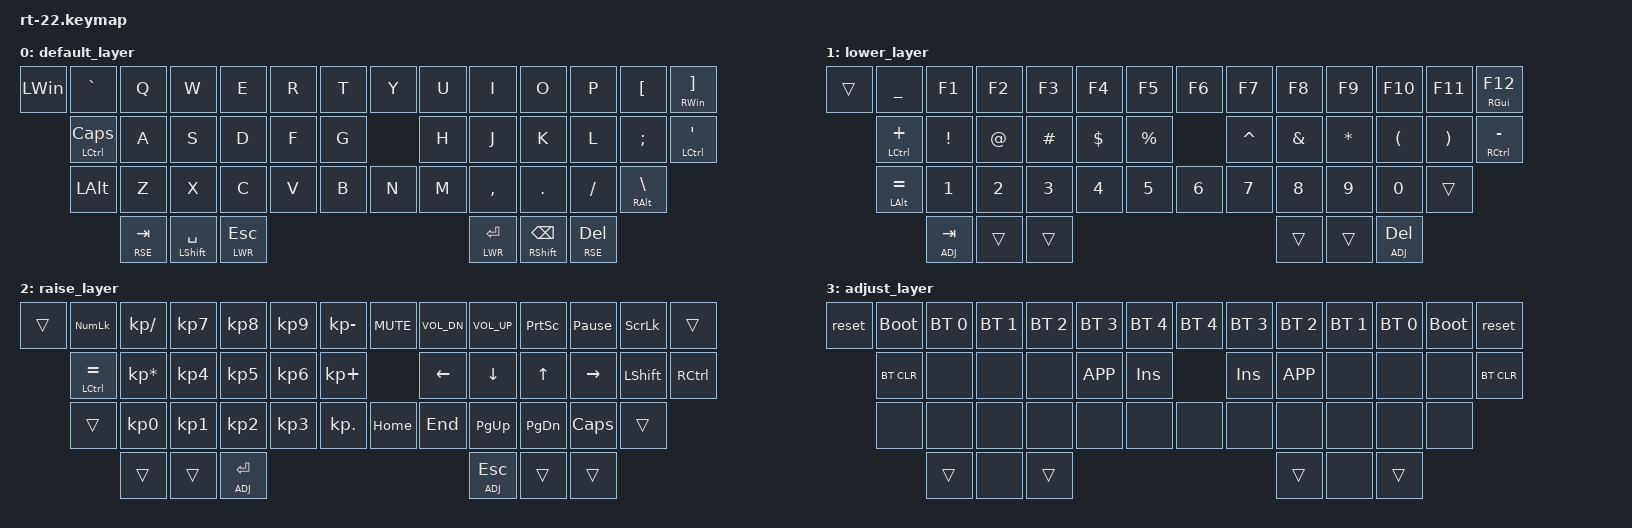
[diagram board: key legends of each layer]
/*
 * Copyright (c) 2020 The ZMK Contributors
 *
 * SPDX-License-Identifier: MIT
 */

#include <behaviors.dtsi>
#include <dt-bindings/zmk/keys.h>
#include <dt-bindings/zmk/bt.h>

#define DEF 0
#define LWR 1
#define RSE 2
#define ADJ 3

&lt { quick_tap_ms = <200>; };
&mt { quick_tap_ms = <200>; };

/ {
        keymap {
                compatible = "zmk,keymap";

                default_layer {
// -----------------------------------------------------------------------------------------
// |  GUI |   ~  |  Q  |  W  |  E  |  R  |  T  |   |  Y  |  U   |  I  |  O  |  P  |  [   | GUI/] |
//        | CTRL |  A  |  S  |  D  |  F  |  G  |   |  H  |  J   |  K  |  L  |  ;  |CTRL/'|
//        | LALT |  Z  |  X  |  C  |  V  |  B  |   |  N  |  M   |  ,  |  .  |  /  | RALT |
//                           | RSE | SPC | LWR |   | LWR | BKSP | RSE |
                        bindings = <
   &kp LWIN &kp GRAVE &kp Q &kp W &kp E &kp R &kp T &kp Y              &kp U  &kp I     &kp O   &kp P    &kp LBKT &mt RWIN RBKT
            &mt LCTRL CAPS &kp A &kp S &kp D &kp F &kp G &kp H         &kp J  &kp K     &kp L   &kp SEMI &mt LCTRL SQT
            &kp LALT  &kp Z &kp X &kp C &kp V &kp B &kp N              &kp M  &kp COMMA &kp DOT &kp FSLH &mt RALT BSLH
                  &lt RSE TAB &mt LSHFT SPACE &lt LWR ESC              &lt LWR RET &mt RSHFT BSPC &lt RSE DEL
                        >;
                };
                lower_layer {
// -----------------------------------------------------------------------------------------
// |     |  _  |  F1 |  F2 |  F3 |  F4 |  F5 |   |  F6 |  F7 |  F8 |  F9 | F10 | F11 | F12 |
//       |  +  |  !  |  @  |  #  |  $  |  %  |   |  ^  |  &  |  *  |  (  |  )  |  -  |
//       |  =  |  1  |  2  |  3  |  4  |  5  |   |  6  |  7  |  8  |  9  |  0  |     |
//                    | GUI |     | SPC |   | ENT |     | ALT |
                        bindings = <
   &trans &kp UNDER      &kp F1   &kp F2 &kp F3   &kp F4   &kp F5           &kp F6    &kp F7   &kp F8   &kp F9   &kp F10  &kp F11 &mt RGUI F12
          &mt LCTRL PLUS &kp EXCL &kp AT &kp HASH &kp DLLR &kp PRCNT        &kp CARET &kp AMPS &kp STAR &kp LPAR &kp RPAR &mt RCTRL MINUS
          &mt LALT EQUAL &kp N1   &kp N2 &kp N3   &kp N4   &kp N5           &kp N6    &kp N7   &kp N8   &kp N9   &kp N0   &trans
                                              &lt ADJ TAB &trans &trans   &trans &trans &lt ADJ DEL
                        >;
                };

                raise_layer {
// -----------------------------------------------------------------------------------------
// |     | NMLK |  /  |  7  |  8  |  9  |  -  |   | MUT  | VOLD | VOLU | PRSC | PAUS  | SCLK |     |
//       | CTRL |  *  |  4  |  5  |  6  |  +  |   | LEFT | DOWN |  UP  | RGHT | LSHFT |      |
//       |      |  0  |  1  |  2  |  3  |  .  |   | HOME | END  | PGUP | PGDN | CLCK  |      |
//                          |     |     | ADJ |   | ADJ  |      |      |
                        bindings = <
   &trans &kp KP_NUM      &kp KP_SLASH    &kp KP_N7 &kp KP_N8 &kp KP_N9 &kp KP_MINUS   &kp C_MUTE  &kp C_VOL_DN  &kp C_VOL_UP  &kp PSCRN &kp PAUSE_BREAK  &kp SLCK &trans
          &mt LCTRL EQUAL &kp KP_MULTIPLY &kp KP_N4 &kp KP_N5 &kp KP_N6 &kp KP_PLUS    &kp LEFT    &kp DOWN      &kp UP        &kp RIGHT &kp LSHFT        &kp RCTRL
          &trans          &kp KP_N0       &kp KP_N1 &kp KP_N2 &kp KP_N3 &kp KP_DOT     &kp HOME    &kp END       &kp PG_UP     &kp PG_DN &kp CAPS         &trans
                                                           &trans &trans &lt ADJ RET   &lt ADJ ESC &trans &trans
                        >;
                };
                adjust_layer {
// -----------------------------------------------------------------------------------------
// | RST | BLDR  | BT0 | BT1 | BT2 | BT3 | BT4 |   | BT4 | BT3 | BT2 | BT1 | BT0 | BLDR  | RST |
//       | BTCLR |     |     |     | APP | INS |   | INS | APP |     |     |     | BTCLR |
//       |       |     |     |     |     |     |   |     |     |     |     |     |       |
//                           |     |     |     |   |     |     |     |
                        bindings = <
   &reset &bootloader &bt BT_SEL 0 &bt BT_SEL 1 &bt BT_SEL 2 &bt BT_SEL 3 &bt BT_SEL 4   &bt BT_SEL 4 &bt BT_SEL 3 &bt BT_SEL 2 &bt BT_SEL 1 &bt BT_SEL 0  &bootloader &reset
          &bt BT_CLR  &none        &none        &none        &kp K_APP    &kp INS        &kp INS      &kp K_APP    &none        &none        &none         &bt BT_CLR
          &none       &none        &none        &none        &none        &none          &none        &none        &none        &none        &none         &none
                                                                   &trans &none &trans   &trans &none &trans
                        >;
                };
        };
};
